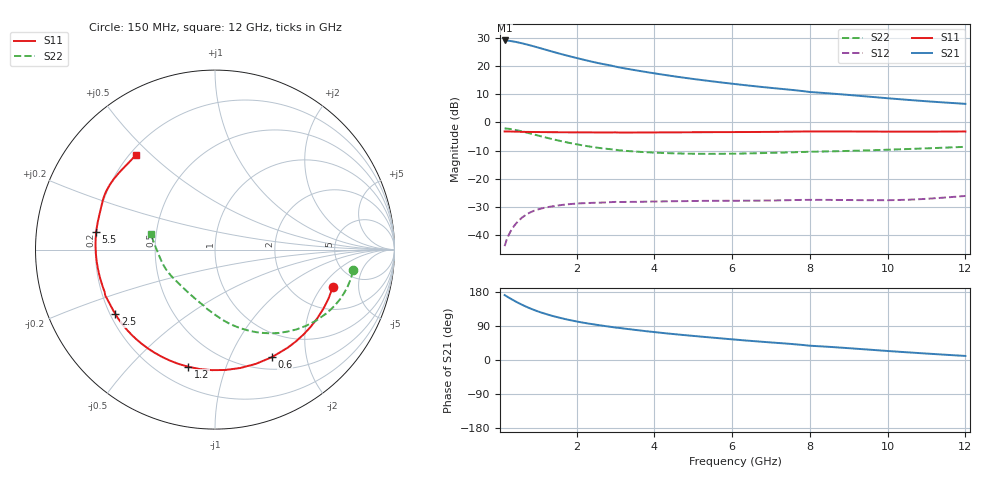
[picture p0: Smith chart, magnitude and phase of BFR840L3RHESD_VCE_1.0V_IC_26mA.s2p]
! Infineon Technologies  Discrete & RF Semiconductors
! BFR840L3RHESD
! VCE =  1.0 V,  IC =  26 mA
! Common Emitter S-Parameters:  Jun 2012
# GHz  S  MA  R  50
!  f  S11  S21  S12  S22
! GHz  MAG  ANG  MAG  ANG  MAG  ANG  MAG  ANG
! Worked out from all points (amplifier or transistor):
!   91 points, 150 MHz to 12 GHz, reference 50 ohm
!   highest |S21| = 29.0 dB at 150 MHz (marker M1)
!   |S21| within 3 dB of that: start of sweep to 1.135 GHz
!   unconditionally stable (mu >= 1): 4.72 GHz to end of sweep
!   at 1.3 GHz: K = 0.34, MSG = 27.6 dB, |S12| = -30.0 dB
!   at 4.3 GHz: K = 0.91, MSG = 22.4 dB, |S12| = -28.0 dB
!   at 12 GHz: K = 2.32, MAG = 9.9 dB, |S12| = -26.1 dB
!   S11 on the Smith chart (normalised r, x): 150 MHz: 3.27, -2.58; 600 MHz: 0.65, -1.45; 1.2 GHz: 0.32, -0.75; 2.5 GHz: 0.22, -0.28; 5.5 GHz: 0.20, +0.07; 12 GHz: 0.22, +0.45
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0.15  0.6889 -17.5  28.12 171.3  0.0064 73.3  0.778 -8.6
0.25  0.6879 -28.5  27.78 165.1  0.0099 71.9  0.7675 -15.4
0.4  0.6834 -43.8  26.77 156.3  0.0148 64.3  0.7387 -24.5
0.5  0.6804 -53.3  25.93 150.8  0.0178 59.7  0.7145 -29.9
0.6  0.678 -62.1  25.02 145.7  0.0206 56.0  0.6885 -35.1
0.7  0.6761 -70.3  24.07 140.9  0.023 52.9  0.6619 -39.9
0.9  0.6732 -85.0  22.12 132.3  0.027 48.2  0.6098 -48.5
1  0.6719 -91.4  21.16 128.5  0.0285 46.2  0.5852 -52.5
1.2  0.6695 -102.8  19.32 121.8  0.0309 42.4  0.5395 -59.5
1.4  0.6674 -112.5  17.65 115.8  0.0327 38.7  0.4992 -65.8
1.7  0.6654 -124.5  15.52 108.2  0.0348 33.6  0.4486 -74.0
1.9  0.6646 -131.2  14.31 103.8  0.0359 31.0  0.4206 -78.9
2.2  0.6633 -139.8  12.73 98.0  0.037 28.5  0.3855 -85.3
2.5  0.6612 -147.1  11.4 93.1  0.0376 26.8  0.3577 -91.0
3  0.6628 -157.3  9.695 85.6  0.0389 24.0  0.3265 -99.6
3.6  0.6596 -166.7  8.161 78.3  0.0391 22.4  0.3004 -109.0
4.2  0.6623 -174.4  7.01 71.5  0.0397 21.9  0.2867 -117.5
5.5  0.669 171.7  5.295 59.0  0.0407 21.6  0.2762 -134.6
6.1  0.6711 166.4  4.734 53.7  0.0408 21.9  0.2786 -141.9
8.5  0.6885 148.1  3.25 34.7  0.0422 24.4  0.3054 -168.3
10.5  0.6823 136.3  2.5 20.3  0.0424 32.4  0.3357 175.8
12  0.6875 129.8  2.121 10.7  0.0496 38.9  0.3678 166.5
